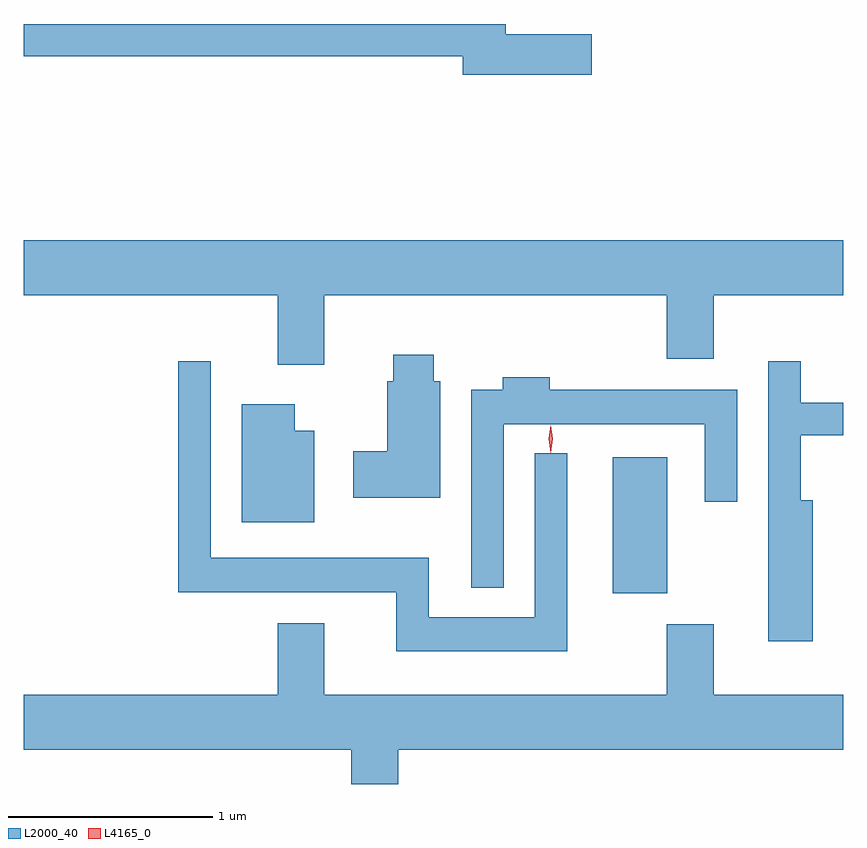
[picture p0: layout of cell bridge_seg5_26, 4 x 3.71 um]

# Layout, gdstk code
import gdstk
lib = gdstk.Library(unit=1e-6, precision=1e-09)
def R(c, l, rs):  # rectangles x0, y0, x1, y1
    for r in rs: c.add(gdstk.rectangle(r[:2], r[2:], *l))
def P(c, l, *ps):  # polygons
    for p in ps: c.add(gdstk.Polygon(p, *l))
L2000_40 = (2000, 40)
L4165_0 = (4165, 0)

bridge_seg5_26 = lib.new_cell('bridge_seg5_26')
R(bridge_seg5_26, L2000_40, [(1231.646,1475.321,1231.914,1475.984)])
P(bridge_seg5_26, L2000_40, [(1231.544,1478.049),(1231.124,1478.049),(1231.124,1478.099),(1228.772,1478.099),(1228.772,1477.941),(1230.916,1477.941),(1230.916,1477.851),(1231.544,1477.851)],
  [(1230.239,1476.776),(1231.911,1476.776),(1231.911,1476.466),(1232.139,1476.466),(1232.139,1476.776),(1232.772,1476.776),(1232.772,1477.044),(1228.772,1477.044),(1228.772,1476.776),(1230.011,1476.776),(1230.011,1476.436),(1230.239,1476.436)],
  [(1230.804,1476.354),(1230.774,1476.354),(1230.774,1476.484),(1230.576,1476.484),(1230.576,1476.354),(1230.546,1476.354),(1230.546,1476.014),(1230.381,1476.014),(1230.381,1475.786),(1230.804,1475.786)],
  [(1231.424,1476.003),(1231.266,1476.003),(1231.266,1475.204),(1230.749,1475.204),(1230.749,1475.494),(1229.684,1475.494),(1229.684,1476.453),(1229.526,1476.453),(1229.526,1475.326),(1230.591,1475.326),(1230.591,1475.036),(1231.424,1475.036)],
  [(1232.624,1475.774),(1232.564,1475.774),(1232.564,1476.091),(1232.772,1476.091),(1232.772,1476.249),(1232.564,1476.249),(1232.564,1476.453),(1232.406,1476.453),(1232.406,1475.086),(1232.624,1475.086)],
  [(1231.114,1476.146),(1232.096,1476.146),(1232.096,1475.768),(1232.254,1475.768),(1232.254,1476.314),(1231.339,1476.314),(1231.339,1476.374),(1231.111,1476.374),(1231.111,1476.314),(1230.956,1476.314),(1230.956,1475.348),(1231.114,1475.348)],
  [(1230.189,1476.114),(1230.094,1476.114),(1230.094,1476.244),(1229.836,1476.244),(1229.836,1475.666),(1230.189,1475.666)],
  [(1230.599,1474.556),(1232.772,1474.556),(1232.772,1474.824),(1232.139,1474.824),(1232.139,1475.169),(1231.911,1475.169),(1231.911,1474.824),(1230.239,1474.824),(1230.239,1475.174),(1230.011,1475.174),(1230.011,1474.824),(1228.772,1474.824),(1228.772,1474.556),(1230.371,1474.556),(1230.371,1474.389),(1230.599,1474.389)])
P(bridge_seg5_26, L4165_0, [(1231.344,1476.007),(1231.335,1476.074),(1231.344,1476.14),(1231.345,1476.141),(1231.345,1476.14),(1231.355,1476.074),(1231.345,1476.007),(1231.345,1476.007)])

lib.write_gds('bridge_seg5_26.gds')
